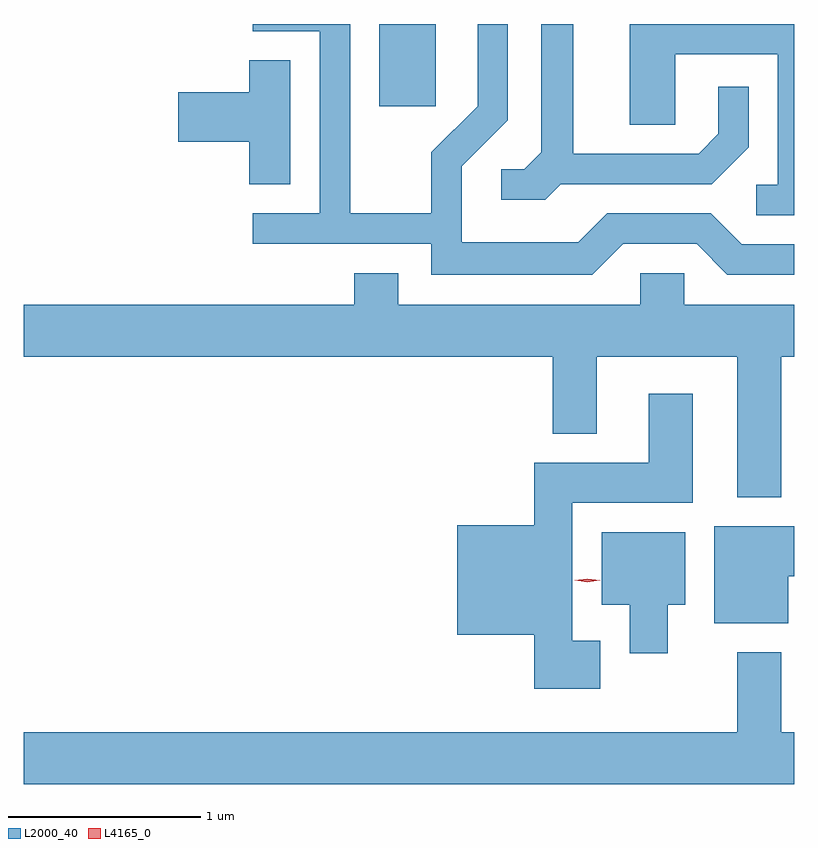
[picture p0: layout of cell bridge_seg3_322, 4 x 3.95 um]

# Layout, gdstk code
import gdstk
lib = gdstk.Library(unit=1e-6, precision=1e-09)
def R(c, l, rs):  # rectangles x0, y0, x1, y1
    for r in rs: c.add(gdstk.rectangle(r[:2], r[2:], *l))
def P(c, l, *ps):  # polygons
    for p in ps: c.add(gdstk.Polygon(p, *l))
L2000_40 = (2000, 40)
L4165_0 = (4165, 0)

bridge_seg3_322 = lib.new_cell('bridge_seg3_322')
R(bridge_seg3_322, L2000_40, [(571.541,1205.016,571.834,1205.443)])
P(bridge_seg3_322, L2000_40, [(572.482,1204.611),(573.267,1204.611),(573.459,1204.804),(573.459,1205.118),(573.301,1205.118),(573.301,1204.872),(573.199,1204.769),(572.549,1204.769),(572.549,1205.443),(572.381,1205.443),(572.381,1204.777),(572.294,1204.689),(572.173,1204.689),(572.173,1204.531),(572.402,1204.531)],
  [(573.695,1205.443),(572.841,1205.443),(572.841,1204.921),(573.079,1204.921),(573.079,1205.286),(573.611,1205.286),(573.611,1204.609),(573.498,1204.609),(573.498,1204.451),(573.695,1204.451)],
  [(572.807,1204.301),(573.189,1204.301),(573.349,1204.141),(573.695,1204.141),(573.695,1204.299),(573.422,1204.299),(573.262,1204.459),(572.724,1204.459),(572.574,1204.309),(571.969,1204.309),(571.969,1204.704),(572.209,1204.944),(572.209,1205.443),(572.051,1205.443),(572.051,1205.017),(571.811,1204.777),(571.811,1204.459),(571.389,1204.459),(571.389,1205.443),(570.883,1205.443),(570.883,1205.406),(571.231,1205.406),(571.231,1204.459),(570.883,1204.459),(570.883,1204.301),(571.811,1204.301),(571.811,1204.141),(572.647,1204.141)],
  [(571.079,1205.254),(570.866,1205.254),(570.866,1205.089),(570.496,1205.089),(570.496,1204.831),(570.866,1204.831),(570.866,1204.611),(571.079,1204.611)],
  [(573.629,1203.716),(573.695,1203.716),(573.695,1203.984),(573.124,1203.984),(573.124,1204.149),(572.896,1204.149),(572.896,1203.984),(571.639,1203.984),(571.639,1204.149),(571.411,1204.149),(571.411,1203.984),(569.695,1203.984),(569.695,1203.716),(572.441,1203.716),(572.441,1203.316),(572.669,1203.316),(572.669,1203.716),(573.401,1203.716),(573.401,1202.986),(573.629,1202.986)],
  [(572.689,1202.239),(572.544,1202.239),(572.544,1202.956),(573.169,1202.956),(573.169,1203.524),(572.941,1203.524),(572.941,1203.164),(572.346,1203.164),(572.346,1202.839),(571.946,1202.839),(571.946,1202.271),(572.346,1202.271),(572.346,1201.991),(572.689,1201.991)],
  [(573.664,1202.576),(573.695,1202.576),(573.695,1202.834),(573.281,1202.834),(573.281,1202.331),(573.664,1202.331)],
  [(573.039,1202.426),(573.129,1202.426),(573.129,1202.804),(572.696,1202.804),(572.696,1202.426),(572.841,1202.426),(572.841,1202.176),(573.039,1202.176)],
  [(573.695,1201.764),(573.629,1201.764),(573.629,1202.179),(573.401,1202.179),(573.401,1201.764),(569.695,1201.764),(569.695,1201.496),(573.695,1201.496)])
P(bridge_seg3_322, L4165_0, [(572.622,1202.543),(572.556,1202.553),(572.556,1202.553),(572.556,1202.554),(572.622,1202.563),(572.687,1202.554),(572.688,1202.553),(572.687,1202.553)])

lib.write_gds('bridge_seg3_322.gds')
